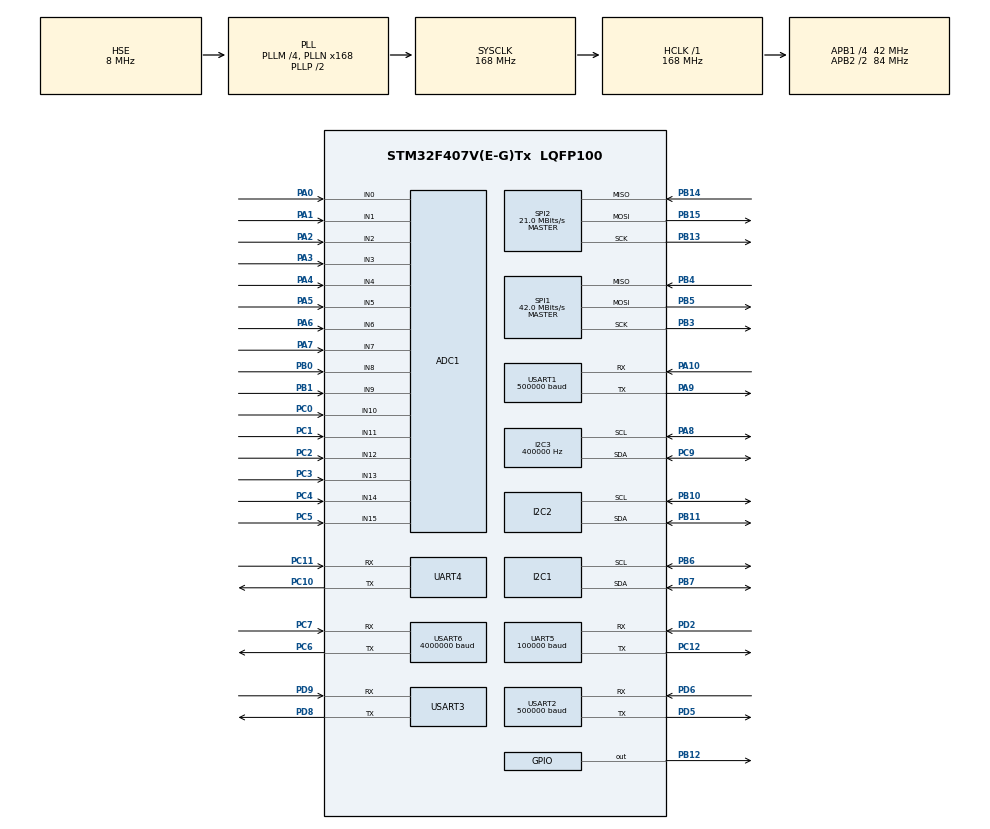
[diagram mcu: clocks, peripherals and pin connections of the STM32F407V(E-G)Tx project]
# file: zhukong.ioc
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ADC1.Channel-0\#ChannelRegularConversion=ADC_CHANNEL_0
ADC1.NbrOfConversionFlag=1
ADC1.Rank-0\#ChannelRegularConversion=1
ADC1.SamplingTime-0\#ChannelRegularConversion=ADC_SAMPLETIME_3CYCLES
ADC1.master=1
Dma.Request0=USART1_RX
Dma.Request1=USART1_TX
Dma.Request2=USART6_RX
Dma.Request3=USART6_TX
Dma.USART1_RX.0.Direction=DMA_PERIPH_TO_MEMORY
Dma.USART1_RX.0.FIFOMode=DMA_FIFOMODE_DISABLE
Dma.USART1_RX.0.Instance=DMA2_Stream2
Dma.USART1_RX.0.MemDataAlignment=DMA_MDATAALIGN_BYTE
Dma.USART1_RX.0.MemInc=DMA_MINC_ENABLE
Dma.USART1_RX.0.Mode=DMA_NORMAL
Dma.USART1_RX.0.PeriphDataAlignment=DMA_PDATAALIGN_BYTE
Dma.USART1_RX.0.PeriphInc=DMA_PINC_DISABLE
Dma.USART1_RX.0.Priority=DMA_PRIORITY_LOW
Dma.USART1_TX.1.Direction=DMA_MEMORY_TO_PERIPH
Dma.USART1_TX.1.FIFOMode=DMA_FIFOMODE_DISABLE
Dma.USART1_TX.1.Instance=DMA2_Stream7
Dma.USART1_TX.1.MemDataAlignment=DMA_MDATAALIGN_BYTE
Dma.USART1_TX.1.MemInc=DMA_MINC_ENABLE
Dma.USART1_TX.1.Mode=DMA_NORMAL
Dma.USART1_TX.1.PeriphDataAlignment=DMA_PDATAALIGN_BYTE
Dma.USART1_TX.1.PeriphInc=DMA_PINC_DISABLE
Dma.USART1_TX.1.Priority=DMA_PRIORITY_LOW
Dma.USART6_RX.2.Direction=DMA_PERIPH_TO_MEMORY
Dma.USART6_RX.2.FIFOMode=DMA_FIFOMODE_DISABLE
Dma.USART6_RX.2.Instance=DMA2_Stream1
Dma.USART6_RX.2.MemDataAlignment=DMA_MDATAALIGN_BYTE
Dma.USART6_RX.2.MemInc=DMA_MINC_ENABLE
Dma.USART6_RX.2.Mode=DMA_NORMAL
Dma.USART6_RX.2.PeriphDataAlignment=DMA_PDATAALIGN_BYTE
Dma.USART6_RX.2.PeriphInc=DMA_PINC_DISABLE
Dma.USART6_RX.2.Priority=DMA_PRIORITY_VERY_HIGH
Dma.USART6_TX.3.Direction=DMA_MEMORY_TO_PERIPH
Dma.USART6_TX.3.FIFOMode=DMA_FIFOMODE_DISABLE
Dma.USART6_TX.3.Instance=DMA2_Stream6
Dma.USART6_TX.3.MemDataAlignment=DMA_MDATAALIGN_BYTE
Dma.USART6_TX.3.MemInc=DMA_MINC_ENABLE
Dma.USART6_TX.3.Mode=DMA_NORMAL
Dma.USART6_TX.3.PeriphDataAlignment=DMA_PDATAALIGN_BYTE
Dma.USART6_TX.3.PeriphInc=DMA_PINC_DISABLE
Dma.USART6_TX.3.Priority=DMA_PRIORITY_LOW
FREERTOS.BinarySemaphores01=RS485SE,Dynamic,NULL,Available
FREERTOS.Queues01=RS485_DMA,52,uint8_t,0,Dynamic,NULL,NULL;Send_Again,8,uint8_t,0,Dynamic,NULL,NULL
FREERTOS.Tasks01=zhuhanshu,8,128,StartDefaultTask,Default,NULL,Dynamic,NULL,NULL;RS485,16,128,StartTask02,Default,NULL,Dynamic,NULL,NULL;velocityadd,8,128,StartTask03,Default,NULL,Dynamic,NULL,NULL
FREERTOS.configENABLE_FPU=1
I2C1.DutyCycle=I2C_DUTYCYCLE_2
I2C1.I2C_Mode=I2C_Fast
I2C3.ClockSpeed=400000
I2C3.DutyCycle=I2C_DUTYCYCLE_16_9
I2C3.I2C_Mode=I2C_Fast
Mcu.Family=STM32F4
Mcu.Name=STM32F407V(E-G)Tx
Mcu.Package=LQFP100
NVIC.DMA2_Stream1_IRQn=true\:5\:0\:false\:false\:true\:true\:false\:true\:true
NVIC.DMA2_Stream2_IRQn=true\:5\:0\:false\:false\:true\:true\:false\:true\:true
NVIC.DMA2_Stream6_IRQn=true\:5\:0\:false\:false\:true\:true\:false\:true\:true
NVIC.DMA2_Stream7_IRQn=true\:5\:0\:false\:false\:true\:true\:false\:true\:true
NVIC.PriorityGroup=NVIC_PRIORITYGROUP_4
NVIC.TIM1_UP_TIM10_IRQn=true\:6\:0\:true\:false\:true\:true\:true\:true\:true
NVIC.TIM7_IRQn=true\:15\:0\:false\:false\:true\:false\:false\:true\:true
NVIC.TimeBase=TIM7_IRQn
NVIC.TimeBaseIP=TIM7
NVIC.UART5_IRQn=true\:5\:0\:false\:false\:true\:true\:true\:true\:true
NVIC.USART1_IRQn=true\:5\:0\:false\:false\:true\:true\:true\:true\:true
NVIC.USART2_IRQn=true\:5\:0\:false\:false\:true\:true\:true\:true\:true
NVIC.USART6_IRQn=true\:5\:0\:false\:false\:true\:true\:true\:true\:true
PA0-WKUP.Signal=ADCx_IN0
PA1.Signal=ADCx_IN1
PA10.Mode=Asynchronous
PA10.Signal=USART1_RX
PA13.Mode=Serial_Wire
PA13.Signal=SYS_JTMS-SWDIO
PA14.Mode=Serial_Wire
PA14.Signal=SYS_JTCK-SWCLK
PA2.Signal=ADCx_IN2
PA3.Signal=ADCx_IN3
PA4.Signal=ADCx_IN4
PA5.Signal=ADCx_IN5
PA6.Signal=ADCx_IN6
PA7.Signal=ADCx_IN7
PA8.Mode=I2C
PA8.Signal=I2C3_SCL
PA9.Mode=Asynchronous
PA9.Signal=USART1_TX
PB0.Signal=ADCx_IN8
PB1.Signal=ADCx_IN9
PB10.Mode=I2C
PB10.Signal=I2C2_SCL
PB11.Mode=I2C
PB11.Signal=I2C2_SDA
PB12.Signal=GPIO_Output
PB13.Mode=Full_Duplex_Master
PB13.Signal=SPI2_SCK
PB14.Mode=Full_Duplex_Master
PB14.Signal=SPI2_MISO
PB15.Mode=Full_Duplex_Master
PB15.Signal=SPI2_MOSI
PB3.Mode=Full_Duplex_Master
PB3.Signal=SPI1_SCK
PB4.Mode=Full_Duplex_Master
PB4.Signal=SPI1_MISO
PB5.Mode=Full_Duplex_Master
PB5.Signal=SPI1_MOSI
PB6.Mode=I2C
PB6.Signal=I2C1_SCL
PB7.Mode=I2C
PB7.Signal=I2C1_SDA
PC0.Signal=ADCx_IN10
PC1.Signal=ADCx_IN11
PC10.Mode=Asynchronous
PC10.Signal=UART4_TX
PC11.Mode=Asynchronous
PC11.Signal=UART4_RX
PC12.Mode=Asynchronous
PC12.Signal=UART5_TX
PC2.Signal=ADCx_IN12
PC3.Signal=ADCx_IN13
PC4.Signal=ADCx_IN14
PC5.Signal=ADCx_IN15
PC6.Mode=Asynchronous
PC6.Signal=USART6_TX
PC7.Mode=Asynchronous
PC7.Signal=USART6_RX
PC9.Mode=I2C
PC9.Signal=I2C3_SDA
PD2.Mode=Asynchronous
PD2.Signal=UART5_RX
PD5.Mode=Asynchronous
PD5.Signal=USART2_TX
PD6.Mode=Asynchronous
PD6.Signal=USART2_RX
PD8.Mode=Asynchronous
PD8.Signal=USART3_TX
PD9.Mode=Asynchronous
PD9.Signal=USART3_RX
PH0-OSC_IN.Mode=HSE-External-Oscillator
PH0-OSC_IN.Signal=RCC_OSC_IN
PH1-OSC_OUT.Mode=HSE-External-Oscillator
PH1-OSC_OUT.Signal=RCC_OSC_OUT
ProjectManager.HeapSize=0x200
ProjectManager.StackSize=0x400
ProjectManager.TargetToolchain=MDK-ARM V5.32
RCC.48MHZClocksFreq_Value=84000000
RCC.AHBFreq_Value=168000000
RCC.APB1CLKDivider=RCC_HCLK_DIV4
RCC.APB1Freq_Value=42000000
RCC.APB1TimFreq_Value=84000000
RCC.APB2CLKDivider=RCC_HCLK_DIV2
RCC.APB2Freq_Value=84000000
RCC.APB2TimFreq_Value=168000000
RCC.CortexFreq_Value=168000000
RCC.HCLKFreq_Value=168000000
RCC.HSE_VALUE=8000000
RCC.HSI_VALUE=16000000
RCC.LSE_VALUE=32768
RCC.PLLM=4
RCC.PLLN=168
RCC.PLLSourceVirtual=RCC_PLLSOURCE_HSE
RCC.SYSCLKFreq_VALUE=168000000
RCC.SYSCLKSource=RCC_SYSCLKSOURCE_PLLCLK
RCC.VCOOutputFreq_Value=336000000
SH.ADCx_IN0.0=ADC1_IN0,IN0
SH.ADCx_IN1.0=ADC1_IN1,IN1
SH.ADCx_IN10.0=ADC1_IN10,IN10
SH.ADCx_IN11.0=ADC1_IN11,IN11
SH.ADCx_IN12.0=ADC1_IN12,IN12
SH.ADCx_IN13.0=ADC1_IN13,IN13
SH.ADCx_IN14.0=ADC1_IN14,IN14
SH.ADCx_IN15.0=ADC1_IN15,IN15
SH.ADCx_IN2.0=ADC1_IN2,IN2
SH.ADCx_IN3.0=ADC1_IN3,IN3
SH.ADCx_IN4.0=ADC1_IN4,IN4
SH.ADCx_IN5.0=ADC1_IN5,IN5
SH.ADCx_IN6.0=ADC1_IN6,IN6
SH.ADCx_IN7.0=ADC1_IN7,IN7
SH.ADCx_IN8.0=ADC1_IN8,IN8
SH.ADCx_IN9.0=ADC1_IN9,IN9
SPI1.BaudRatePrescaler=SPI_BAUDRATEPRESCALER_2
SPI1.CalculateBaudRate=42.0 MBits/s
SPI1.Direction=SPI_DIRECTION_2LINES
SPI1.Mode=SPI_MODE_MASTER
SPI1.VirtualType=VM_MASTER
SPI2.BaudRatePrescaler=SPI_BAUDRATEPRESCALER_2
SPI2.CalculateBaudRate=21.0 MBits/s
SPI2.Direction=SPI_DIRECTION_2LINES
SPI2.Mode=SPI_MODE_MASTER
SPI2.VirtualType=VM_MASTER
TIM1.Period=9
TIM1.Prescaler=16799
TIM2.Prescaler=83
UART4.VirtualMode=Asynchronous
UART5.BaudRate=100000
UART5.Parity=PARITY_EVEN
UART5.StopBits=UART_STOPBITS_2
UART5.VirtualMode=Asynchronous
UART5.WordLength=WORDLENGTH_9B
USART1.BaudRate=500000
USART1.VirtualMode=VM_ASYNC
USART2.BaudRate=500000
USART2.Parity=PARITY_NONE
USART2.StopBits=STOPBITS_1
USART2.VirtualMode=VM_ASYNC
USART2.WordLength=WORDLENGTH_8B
USART3.VirtualMode=VM_ASYNC
USART6.BaudRate=4000000
USART6.VirtualMode=VM_ASYNC
VP_FREERTOS_VS_CMSIS_V2.Mode=CMSIS_V2
VP_SYS_VS_tim7.Mode=TIM7
VP_TIM1_VS_ClockSourceINT.Mode=Internal
VP_TIM2_VS_ClockSourceINT.Mode=Internal
board=custom

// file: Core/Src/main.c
/* USER CODE BEGIN Header */
/**
  ******************************************************************************
  * @file           : main.c
  * @brief          : Main program body
  ******************************************************************************
  * @attention
  *
  * Copyright (c) 2025 STMicroelectronics.
  * All rights reserved.
  *
  * This software is licensed under terms that can be found in the LICENSE file
  * in the root directory of this software component.
  * If no LICENSE file comes with this software, it is provided AS-IS.
  *
  ******************************************************************************
  */
/* USER CODE END Header */
#include "main.h"
#include "cmsis_os.h"
#include "adc.h"
#include "dma.h"
#include "i2c.h"
#include "spi.h"
#include "tim.h"
#include "usart.h"
#include "gpio.h"

/* USER CODE BEGIN Includes */
#include "JY901S.h"
#include "stdio.h"
#include "MYDWT.h"
#include "remote_contol.h"
#include "RS485.h"
#include "freertos.h"
#include  "semphr.h"
/* USER CODE END Includes */

/* USER CODE BEGIN PV */
extern osSemaphoreId_t  RS485SEHandle;
/* USER CODE END PV */

void SystemClock_Config(void);
void MX_FREERTOS_Init(void);

int main(void)
{

  /* USER CODE BEGIN 1 */
  // extern I2C_HandleTypeDef hi2c3;
  /* USER CODE END 1 */

  /* MCU Configuration--------------------------------------------------------*/

  /* Reset of all peripherals, Initializes the Flash interface and the Systick. */
  HAL_Init();

  /* Configure the system clock */
  SystemClock_Config();

  /* Initialize all configured peripherals */
  MX_GPIO_Init();
  MX_DMA_Init();
  MX_ADC1_Init();
  MX_I2C1_Init();
  MX_I2C2_Init();
  MX_I2C3_Init();
  MX_SPI1_Init();
  MX_SPI2_Init();
  MX_UART4_Init();
  MX_UART5_Init();
  MX_USART1_UART_Init();
  MX_USART2_UART_Init();
  MX_USART3_UART_Init();
  MX_USART6_UART_Init();
  MX_TIM1_Init();
  MX_TIM2_Init();
  /* USER CODE BEGIN 2 */
  HAL_TIM_Base_Start(&htim2);
	HAL_UART_Receive_IT(&huart5,sbus_buf, SBUS_FRAME_SIZE);
	Enable_DWT_CycleCounter();

  /* USER CODE END 2 */

  /* Init scheduler */
  osKernelInitialize();  /* Call init function for freertos objects (in cmsis_os2.c) */
  MX_FREERTOS_Init();

  /* Start scheduler */
  osKernelStart();

  /* We should never get here as control is now taken by the scheduler */

  /* Infinite loop */
  /* USER CODE BEGIN WHILE */
//  float test_data[4] = {1.2f, 1.3f, 1.4f, 1.5f};   //0x3F 99 99 9A
  while (1)
  {
//		uint32_t time = TIM2->CNT;
//		printf("%d\n", time);

//		Analyze_RS485_data();
//		MASTER_SEND_DATA(Slave1_ID , test_data, 4);
//	  HAL_Delay(1000);
//
//		while(1)
//		{
//
//		}
//   for (int i =0 ; i<10; i++)
//  {
//       printf("ch[%d]=%d \n",i,sbus_ch[i]);
//  }
//     get_SBUS_data();
//     HAL_Delay(100);
    /* USER CODE END WHILE */

  }
}

void SystemClock_Config(void)
{
  RCC_OscInitTypeDef RCC_OscInitStruct = {0};
  RCC_ClkInitTypeDef RCC_ClkInitStruct = {0};

  /** Configure the main internal regulator output voltage
  */
  __HAL_RCC_PWR_CLK_ENABLE();
  __HAL_PWR_VOLTAGESCALING_CONFIG(PWR_REGULATOR_VOLTAGE_SCALE1);

  /** Initializes the RCC Oscillators according to the specified parameters
  * in the RCC_OscInitTypeDef structure.
  */
  RCC_OscInitStruct.OscillatorType = RCC_OSCILLATORTYPE_HSE;
  RCC_OscInitStruct.HSEState = RCC_HSE_ON;
  RCC_OscInitStruct.PLL.PLLState = RCC_PLL_ON;
  RCC_OscInitStruct.PLL.PLLSource = RCC_PLLSOURCE_HSE;
  RCC_OscInitStruct.PLL.PLLM = 4;
  RCC_OscInitStruct.PLL.PLLN = 168;
  RCC_OscInitStruct.PLL.PLLP = RCC_PLLP_DIV2;
  RCC_OscInitStruct.PLL.PLLQ = 4;
  if (HAL_RCC_OscConfig(&RCC_OscInitStruct) != HAL_OK)
  {
    Error_Handler();
  }

  /** Initializes the CPU, AHB and APB buses clocks
  */
  RCC_ClkInitStruct.ClockType = RCC_CLOCKTYPE_HCLK|RCC_CLOCKTYPE_SYSCLK
                              |RCC_CLOCKTYPE_PCLK1|RCC_CLOCKTYPE_PCLK2;
  RCC_ClkInitStruct.SYSCLKSource = RCC_SYSCLKSOURCE_PLLCLK;
  RCC_ClkInitStruct.AHBCLKDivider = RCC_SYSCLK_DIV1;
  RCC_ClkInitStruct.APB1CLKDivider = RCC_HCLK_DIV4;
  RCC_ClkInitStruct.APB2CLKDivider = RCC_HCLK_DIV2;

  if (HAL_RCC_ClockConfig(&RCC_ClkInitStruct, FLASH_LATENCY_5) != HAL_OK)
  {
    Error_Handler();
  }
}

/* USER CODE BEGIN 4 */
void HAL_UART_RxCpltCallback(UART_HandleTypeDef *huart) {
  if ((huart == &huart5) &&
      (sbus_buf[0] == 0x0F) &&
      ((sbus_buf[24] == 0x00) || ((sbus_buf[24] & 0x0F) == 0x04))) {
    sbus_new_data = 1;
  }
  HAL_UART_Receive_IT(huart,sbus_buf, SBUS_FRAME_SIZE);

}
/* USER CODE END 4 */

void HAL_TIM_PeriodElapsedCallback(TIM_HandleTypeDef *htim)
{
  if (htim->Instance == TIM7)
  {
    HAL_IncTick();
  }
  /* USER CODE BEGIN Callback 1 */

    if (htim->Instance == TIM1)
    {
        //从ISR释放信号量
        if (RS485SEHandle != NULL)
        {
            osSemaphoreRelease(RS485SEHandle);
        }
    }

  /* USER CODE END Callback 1 */
}

void Error_Handler(void)
{
  __disable_irq();
  while (1)
  {
  }
}

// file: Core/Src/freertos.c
/* USER CODE BEGIN Header */
/**
  ******************************************************************************
  * File Name          : freertos.c
  * Description        : Code for freertos applications
  ******************************************************************************
  * @attention
  *
  * Copyright (c) 2025 STMicroelectronics.
  * All rights reserved.
  *
  * This software is licensed under terms that can be found in the LICENSE file
  * in the root directory of this software component.
  * If no LICENSE file comes with this software, it is provided AS-IS.
  *
  ******************************************************************************
  */
/* USER CODE END Header */

#include "FreeRTOS.h"
#include "task.h"
#include "main.h"
#include "cmsis_os.h"

/* USER CODE BEGIN Includes */
#include  "stdio.h"
#include  "semphr.h"
#include  "tim.h"
#include  "RS485.h"
#include  "MYDWT.h"
/* USER CODE END Includes */

/* USER CODE BEGIN Variables */
//@@@@@@@@@@@@@@@@@优先级以及变量@@@@@@@@@@@@@@@@@@@@@@@

float  slave_velocity_arr[4] = {0};
float  AAA[1] = {10};

//RS485       优先级    osPriorityBelowNormal       task02
//zhuhanshu   优先级    osPriorityLow               dautask

/* USER CODE END Variables */
/* Definitions for zhuhanshu */
osThreadId_t zhuhanshuHandle;
const osThreadAttr_t zhuhanshu_attributes = {
  .name = "zhuhanshu",
  .stack_size = 128 * 4,
  .priority = (osPriority_t) osPriorityLow,
};
/* Definitions for RS485 */
osThreadId_t RS485Handle;
const osThreadAttr_t RS485_attributes = {
  .name = "RS485",
  .stack_size = 128 * 4,
  .priority = (osPriority_t) osPriorityBelowNormal,
};
/* Definitions for velocityadd */
osThreadId_t velocityaddHandle;
const osThreadAttr_t velocityadd_attributes = {
  .name = "velocityadd",
  .stack_size = 128 * 4,
  .priority = (osPriority_t) osPriorityLow,
};
/* Definitions for RS485_DMA */
osMessageQueueId_t RS485_DMAHandle;
const osMessageQueueAttr_t RS485_DMA_attributes = {
  .name = "RS485_DMA"
};
/* Definitions for Send_Again */
osMessageQueueId_t Send_AgainHandle;
const osMessageQueueAttr_t Send_Again_attributes = {
  .name = "Send_Again"
};
/* Definitions for RS485SE */
osSemaphoreId_t RS485SEHandle;
const osSemaphoreAttr_t RS485SE_attributes = {
  .name = "RS485SE"
};

void StartDefaultTask(void *argument);
void StartTask02(void *argument);
void StartTask03(void *argument);

void MX_FREERTOS_Init(void); /* (MISRA C 2004 rule 8.1) */

void MX_FREERTOS_Init(void) {

  /* Create the semaphores(s) */
  /* creation of RS485SE */
  RS485SEHandle = osSemaphoreNew(1, 1, &RS485SE_attributes);

  /* Create the queue(s) */
  /* creation of RS485_DMA */
  RS485_DMAHandle = osMessageQueueNew (52, sizeof(uint8_t), &RS485_DMA_attributes);

  /* creation of Send_Again */
  Send_AgainHandle = osMessageQueueNew (8, sizeof(uint8_t), &Send_Again_attributes);

  /* Create the thread(s) */
  /* creation of zhuhanshu */
  zhuhanshuHandle = osThreadNew(StartDefaultTask, NULL, &zhuhanshu_attributes);

  /* creation of RS485 */
  RS485Handle = osThreadNew(StartTask02, NULL, &RS485_attributes);

  /* creation of velocityadd */
  velocityaddHandle = osThreadNew(StartTask03, NULL, &velocityadd_attributes);

}

void StartDefaultTask(void *argument)
{
  /* USER CODE BEGIN StartDefaultTask */
  /* Infinite loop */
  for(;;)
  {
//		printf("2\n");
//		for( int i = 0; i <4; i++)
//		{
//		slave_velocity_arr[i] += 0.5;
//		}
//		printf("%d,%d,%d %d\n", Slave1_ACK_ERR_CONT,Slave2_ACK_ERR_CONT ,Slave3_ACK_ERR_CONT, Slave4_ACK_ERR_CONT);
		Analyze_RS485_data();
  }
  /* USER CODE END StartDefaultTask */
}

void StartTask02(void *argument)
{
  /* USER CODE BEGIN StartTask02 */
	HAL_TIM_Base_Start_IT(&htim1);
  /* Infinite loop */
  for(;;)
  {
    if(xSemaphoreTake(RS485SEHandle, portMAX_DELAY) == pdPASS )  //没有信号量我就把自己挂起来，让其他函数执行
    {

			start_cycle = DWT->CYCCNT;

			MASTER_SEND_DATA(Slave1_ID, AAA,1 );
			end_cycle = DWT->CYCCNT;
	    printf("%d\n",end_cycle - start_cycle);

//			 RS485_SET_MOTEOR_SPEED(target_velocity_1,
//			target_velocity_2,
//			target_velocity_3,
//			target_velocity_4);
//      printf("485\n");
    }
  }
  /* USER CODE END StartTask02 */
}

void StartTask03(void *argument)
{
  /* USER CODE BEGIN StartTask03 */
  /* Infinite loop */
  for(;;)
  {

		for (int i =0; i<600; i++)
		{
		AAA[0] = i;
    osDelay(5);
		}
		for (int i =600; i>0; i--)
		{
		AAA[0] = i;
    osDelay(5);
		}

  }
  /* USER CODE END StartTask03 */
}
